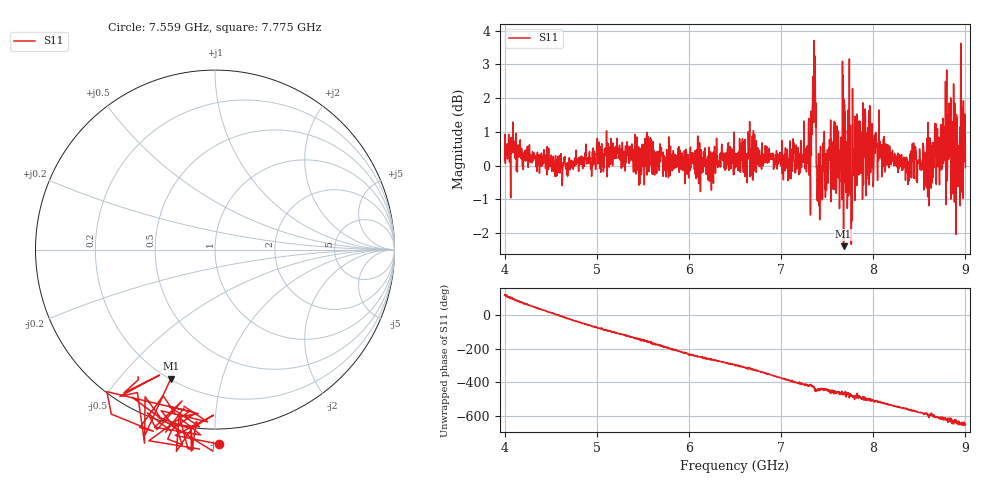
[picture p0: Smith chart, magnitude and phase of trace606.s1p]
! Created with skrf 1.8.0 (http://scikit-rf.org).
# Hz S RI R 50.0
!freq ReS11 ImS11
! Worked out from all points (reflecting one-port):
!   1601 points, 4 GHz to 9 GHz, reference 50 ohm
!   lowest |S11| = -2.4 dB at 7.678 GHz (marker M1), VSWR 7.33, Z = 10.2 - j34.7 ohm
!   phase of S11 starts at 118 deg and turns -767 deg over the sweep
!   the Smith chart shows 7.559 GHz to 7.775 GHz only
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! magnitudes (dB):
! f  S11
! 4 GHz  0.2
! 4.625 GHz  -0.6
! 5.25 GHz  0.2
! 5.875 GHz  0.1
! 6.5 GHz  0.4
! 7.125 GHz  0.3
! 7.294 GHz  0.1
! 7.353 GHz  1.3
! 7.366 GHz  1.9
! 7.409 GHz  -1.2
! 7.522 GHz  0.2
! 7.616 GHz  0.0
! 7.678 GHz  -2.4
! 7.691 GHz  -0.1
! 7.7 GHz  1.0
! 7.75 GHz  -0.8
! 7.775 GHz  2.3
! 7.8 GHz  -1.0
! 7.828 GHz  1.0
! 8.038 GHz  0.6
! 8.375 GHz  0.1
! 8.438 GHz  0.7
! 8.612 GHz  0.8
! 8.819 GHz  0.2
! 8.856 GHz  -0.2
! 8.919 GHz  -0.6
! 8.972 GHz  0.2
! 9 GHz  -0.1
